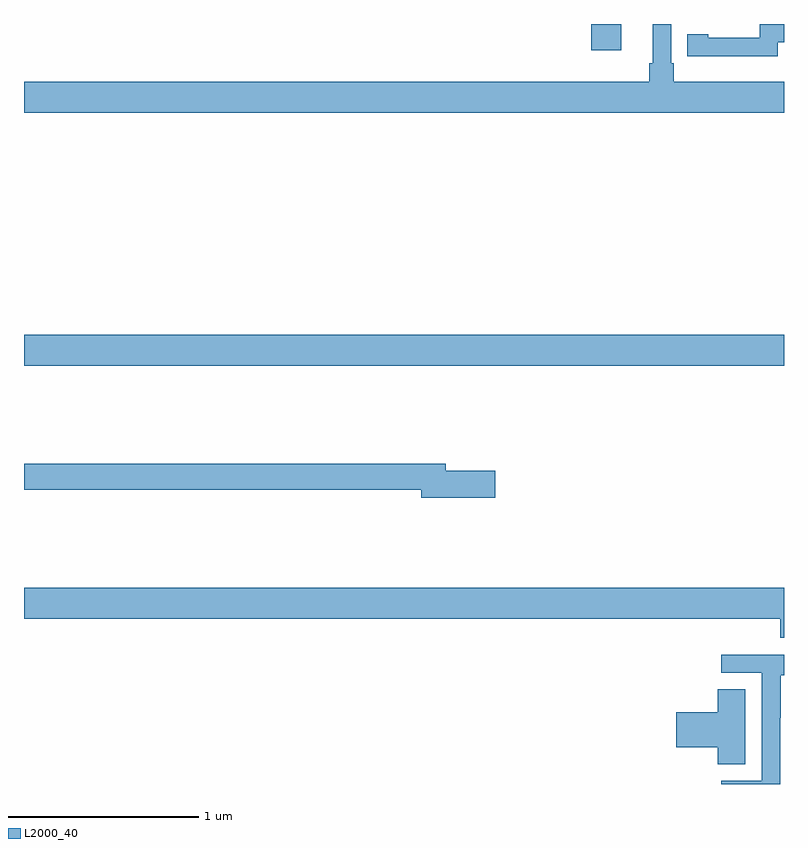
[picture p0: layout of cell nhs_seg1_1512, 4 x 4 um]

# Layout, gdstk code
import gdstk
lib = gdstk.Library(unit=1e-6, precision=1e-09)
def R(c, l, rs):  # rectangles x0, y0, x1, y1
    for r in rs: c.add(gdstk.rectangle(r[:2], r[2:], *l))
def P(c, l, *ps):  # polygons
    for p in ps: c.add(gdstk.Polygon(p, *l))
L2000_40 = (2000, 40)

nhs_seg1_1512 = lib.new_cell('nhs_seg1_1512')
R(nhs_seg1_1512, L2000_40, [(193,550.4,197,550.564), (195.986,552.06,196.144,552.199)])
P(nhs_seg1_1512, L2000_40, [(197,551.896),(196.421,551.896),(196.421,551.992),(196.407,551.992),(196.407,552.199),(196.31,552.199),(196.31,551.992),(196.291,551.992),(196.291,551.896),(193,551.896),(193,551.732),(197,551.732)],
  [(196.968,552.102),(197,552.102),(197,552.198),(196.872,552.198),(196.872,552.126),(196.6,552.126),(196.6,552.146),(196.492,552.146),(196.492,552.03),(196.6,552.03),(196.6,552.029),(196.968,552.029)],
  [(195.481,549.848),(195.22,549.848),(195.22,549.884),(193,549.884),(193,549.748),(195.092,549.748),(195.092,549.706),(195.481,549.706)],
  [(197,549.232),(193,549.232),(193,549.068),(196.979,549.068),(196.979,548.969),(197,548.969)],
  [(196.98,548.548),(196.983,548.548),(196.983,548.772),(197,548.772),(197,548.88),(196.671,548.88),(196.671,548.784),(196.884,548.784),(196.884,548.217),(196.671,548.217),(196.671,548.199),(196.98,548.199)],
  [(196.795,548.699),(196.652,548.699),(196.652,548.576),(196.434,548.576),(196.434,548.393),(196.652,548.393),(196.652,548.302),(196.795,548.302)])

lib.write_gds('nhs_seg1_1512.gds')
